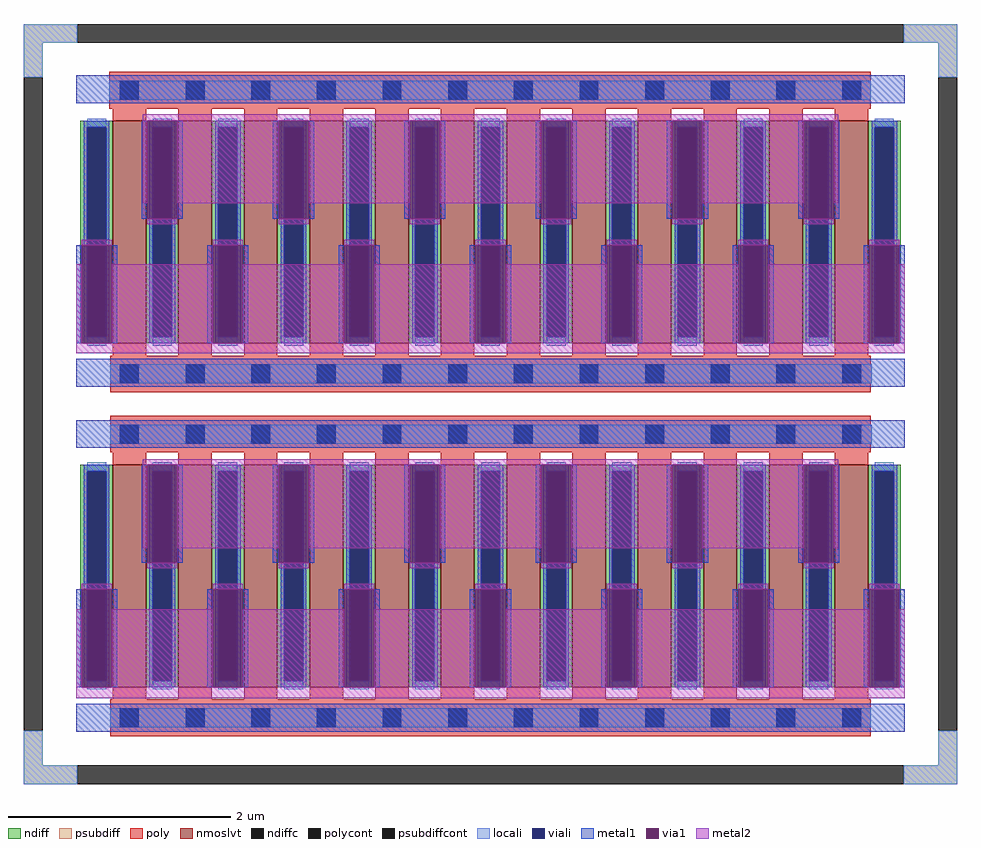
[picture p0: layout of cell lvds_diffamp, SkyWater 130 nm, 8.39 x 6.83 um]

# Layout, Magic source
magic
tech sky130A
magscale 1 2
<< poly >>
rect 130 1200 1498 1266
rect 132 740 1498 756
rect 132 706 1500 740
rect 132 690 1498 706
rect 132 632 1498 648
rect 132 598 1500 632
rect 132 582 1498 598
rect 132 72 1498 138
<< locali >>
rect 130 1216 1498 1250
rect 132 706 1500 740
rect 132 598 1500 632
rect 132 88 1498 122
<< metal1 >>
rect 70 1210 1560 1260
rect 188 1002 198 1178
rect 252 1002 262 1178
rect 424 1002 434 1178
rect 488 1002 498 1178
rect 660 1002 670 1178
rect 724 1002 734 1178
rect 896 1002 906 1178
rect 960 1002 970 1178
rect 1132 1002 1142 1178
rect 1196 1002 1206 1178
rect 1368 1002 1378 1178
rect 1432 1002 1442 1178
rect 70 778 80 954
rect 134 778 144 954
rect 306 778 316 954
rect 370 778 380 954
rect 542 778 552 954
rect 606 778 616 954
rect 778 778 788 954
rect 842 778 852 954
rect 1014 778 1024 954
rect 1078 778 1088 954
rect 1250 778 1260 954
rect 1314 778 1324 954
rect 1486 778 1496 954
rect 1550 778 1560 954
rect 70 700 1560 750
rect 70 590 1560 640
rect 188 384 198 560
rect 252 384 262 560
rect 424 384 434 560
rect 488 384 498 560
rect 660 384 670 560
rect 724 384 734 560
rect 896 384 906 560
rect 960 384 970 560
rect 1132 384 1142 560
rect 1196 384 1206 560
rect 1368 384 1378 560
rect 1432 384 1442 560
rect 70 160 80 336
rect 134 160 144 336
rect 306 160 316 336
rect 370 160 380 336
rect 542 160 552 336
rect 606 160 616 336
rect 778 160 788 336
rect 842 160 852 336
rect 1014 160 1024 336
rect 1078 160 1088 336
rect 1250 160 1260 336
rect 1314 160 1324 336
rect 1486 160 1496 336
rect 1550 160 1560 336
rect 70 80 1560 130
<< via1 >>
rect 198 1002 252 1178
rect 434 1002 488 1178
rect 670 1002 724 1178
rect 906 1002 960 1178
rect 1142 1002 1196 1178
rect 1378 1002 1432 1178
rect 80 778 134 954
rect 316 778 370 954
rect 552 778 606 954
rect 788 778 842 954
rect 1024 778 1078 954
rect 1260 778 1314 954
rect 1496 778 1550 954
rect 198 384 252 560
rect 434 384 488 560
rect 670 384 724 560
rect 906 384 960 560
rect 1142 384 1196 560
rect 1378 384 1432 560
rect 80 160 134 336
rect 316 160 370 336
rect 552 160 606 336
rect 788 160 842 336
rect 1024 160 1078 336
rect 1260 160 1314 336
rect 1496 160 1550 336
<< metal2 >>
rect 190 1178 1440 1190
rect 190 1030 198 1178
rect 252 1030 434 1178
rect 198 992 252 1002
rect 488 1030 670 1178
rect 434 992 488 1002
rect 724 1030 906 1178
rect 670 992 724 1002
rect 960 1030 1142 1178
rect 906 992 960 1002
rect 1196 1030 1378 1178
rect 1142 992 1196 1002
rect 1432 1030 1440 1178
rect 1378 992 1432 1002
rect 80 954 134 964
rect 70 778 80 920
rect 316 954 370 964
rect 134 778 316 920
rect 552 954 606 964
rect 370 778 552 920
rect 788 954 842 964
rect 606 778 788 920
rect 1024 954 1078 964
rect 842 778 1024 920
rect 1260 954 1314 964
rect 1078 778 1260 920
rect 1496 954 1550 964
rect 1314 778 1496 920
rect 1550 778 1560 920
rect 70 760 1560 778
rect 190 560 1440 570
rect 190 410 198 560
rect 252 410 434 560
rect 198 374 252 384
rect 488 410 670 560
rect 434 374 488 384
rect 724 410 906 560
rect 670 374 724 384
rect 960 410 1142 560
rect 906 374 960 384
rect 1196 410 1378 560
rect 1142 374 1196 384
rect 1432 410 1440 560
rect 1378 374 1432 384
rect 80 336 134 346
rect 70 160 80 300
rect 316 336 370 346
rect 134 160 316 300
rect 552 336 606 346
rect 370 160 552 300
rect 788 336 842 346
rect 606 160 788 300
rect 1024 336 1078 346
rect 842 160 1024 300
rect 1260 336 1314 346
rect 1078 160 1260 300
rect 1496 336 1550 346
rect 1314 160 1496 300
rect 1550 160 1560 300
rect 70 140 1560 160
use sky130_fd_pr__nfet_01v8_lvt_ZHX6G9  sky130_fd_pr__nfet_01v8_lvt_ZHX6G9_0
transform 1 0 815 0 1 669
box -875 -719 875 719
<< end >>

# cell sky130_fd_pr__nfet_01v8_lvt_ZHX6G9: kit device sky130_fd_pr__nfet_01v8_lvt, w 2 l 0.3 m 2 nf 12 diffcov 100 polycov 100 guard 1 glc 1 grc 1 gtc 1 gbc 1 tbcov 100 rlcov 100 topc 1 botc 1 poverlap 0 doverlap 1 lmin 0.15 wmin 0.42 compatible {sky130_fd_pr__nfet_01v8 sky130_fd_pr__nfet_01v8_lvt sky130_fd_bs_flash__special_sonosfet_star sky130_fd_pr__nfet_g5v0d10v5 sky130_fd_pr__nfet_05v0_nvt sky130_fd_pr__nfet_03v3_nvt} full_metal 1 viasrc 100 viadrn 100 viagate 100 viagb 0 viagr 0 viagl 0 viagt 0
